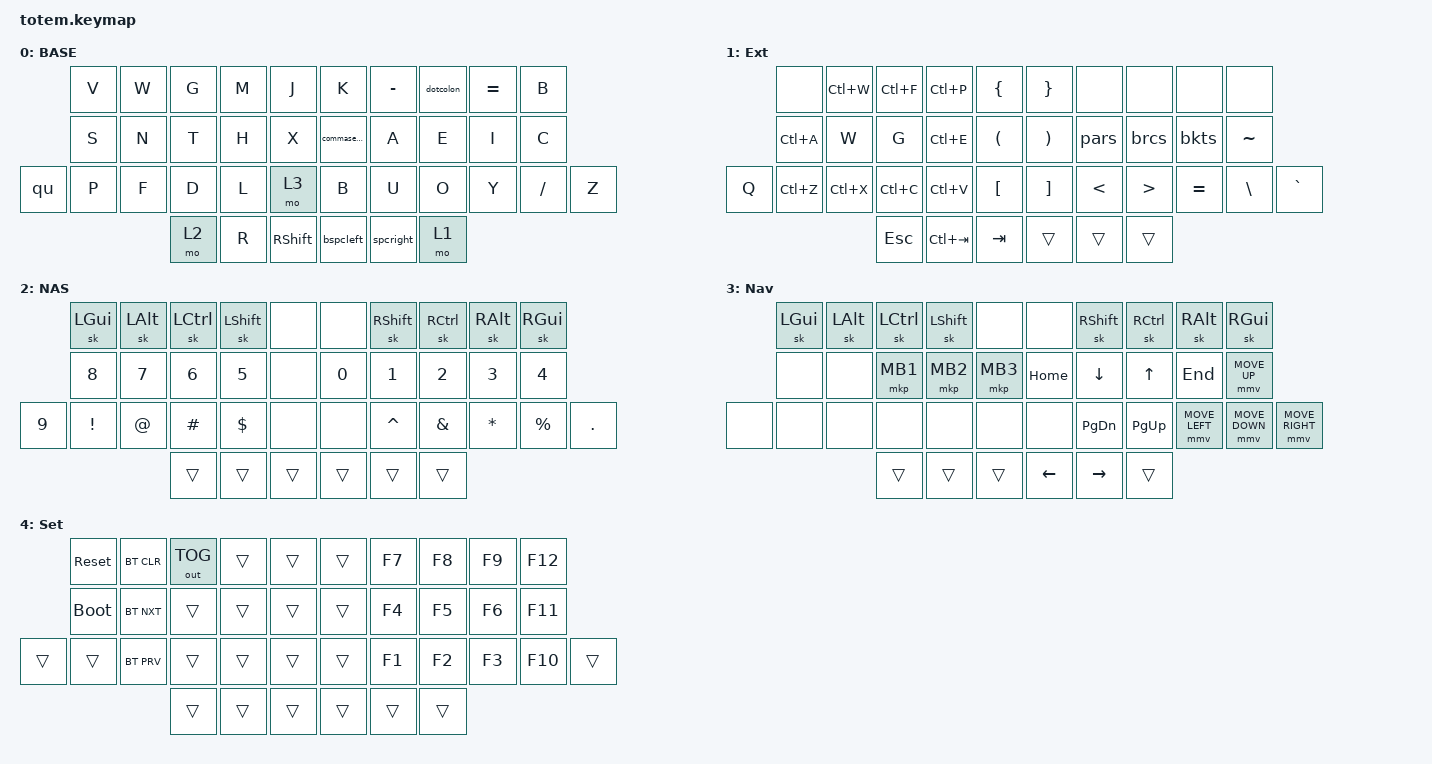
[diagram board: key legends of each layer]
//
//                                                        ▀▀▀▀▀     ▀▀▀▀▀          ▀▀█▀▀
//                                                        ▄▀▀▀▄  ▄  ▄▀▀▀▄  ▄  ▄▀▀▀▄  █  ▄▀▀▀▄
//                                                        █   █  █  █   █  █  █   █  █  █   █
//                                                         ▀▀▀   █   ▀▀▀   █   ▀▀▀   ▀   ▀▀▀
//                                                               █      ▄▄▄█▄▄▄    █   █  
//                                                               ▀      █  █  █     █▄█
//                                                             ▀▀▀▀▀    █  █  █      ▀
//                                                                      ▀  ▀  ▀
//
// ▄▄▄▄▄▄▄▄▄▄▄▄▄▄▄▄▄▄▄▄▄▄▄▄▄▄▄▄▄▄▄▄▄▄▄▄▄▄▄▄▄▄▄▄▄▄▄▄▄▄▄▄▄▄▄▄▄▄▄▄▄▄▄▄▄▄▄▄▄▄▄▄▄▄▄▄▄▄▄▄▄▄▄▄▄▄▄▄▄▄▄▄▄▄▄▄▄▄▄▄▄▄▄▄▄▄▄▄▄▄▄▄▄▄▄▄▄▄▄▄▄▄▄▄▄▄▄▄▄▄▄▄▄▄▄▄▄▄▄▄▄▄▄▄▄▄▄▄▄

#include <behaviors.dtsi>
#include <dt-bindings/zmk/bt.h>
#include <dt-bindings/zmk/keys.h>
#include <dt-bindings/zmk/outputs.h>
#include <dt-bindings/zmk/pointing.h>
#include <dt-bindings/zmk/pointing.h>

#define BASE 0
#define NAV  1
#define SYM  2
#define ADJ  3
#define TVP1 4
#define TVP2 5

&mt {
    quick-tap-ms = <100>;
    global-quick-tap;
    flavor = "tap-preferred";
    tapping-term-ms = <170>;
};

/ {
    combos {
        compatible = "zmk,combos";

        settings_combo {
            bindings = <&sl 4>;
            key-positions = <32 37>;
            layers = <0 4>;
        };

        combo_nav {
            bindings = <&mo 3>;
            key-positions = <32 33>;
            layers = <0>;
        };

        combo_th {
            bindings = <&th>;
            key-positions = <12 13>;
            layers = <0>;
        };

        combo_ing {
            bindings = <&ing>;
            key-positions = <18 19>;
            layers = <0>;
        };

        combo_gh {
            bindings = <&gh>;
            key-positions = <2 3>;
        };

        combo_quote {
            bindings = <&kp APOS>;
            key-positions = <9 19>;
        };

        combo_cap_r {
            bindings = <&kp LS(R)>;
            key-positions = <33 34>;
        };

        combo_enter {
            bindings = <&kp ENTER>;
            key-positions = <36 37>;
        };

        combo_ou {
            bindings = <&ou>;
            key-positions = <27 28>;
        };

        combo_dl {
            bindings = <&ld>;
            key-positions = <23 24>;
        };

        combo_you {
            bindings = <&you>;
            key-positions = <27 28 29>;
            layers = <0>;
        };

        combo_and {
            bindings = <&and>;
            key-positions = <16 11 12>;
        };

        combo_j {
            bindings = <&kp J>;
            key-positions = <13 14>;
        };

        combo_k {
            bindings = <&kp K>;
            key-positions = <15 16>;
        };

        combo_hr_enter {
            bindings = <&kp ENTER>;
            key-positions = <16 17 18 19>;
        };

        combo_exclamation {
            bindings = <&kp EXCLAMATION>;
            key-positions = <0 10>;
        };

        combo_v {
            bindings = <&kp V>;
            key-positions = <10 11>;
        };
    };

    macros {
        qu: qu {
            compatible = "zmk,behavior-macro";
            #binding-cells = <0>;
            bindings =
                <&kp Q>,
                <&macro_release>,
                <&kp LSHIFT &kp RSHIFT>,
                <&macro_tap>,
                <&kp U>;

            label = "QU";
        };

        pars: pars {
            compatible = "zmk,behavior-macro";
            #binding-cells = <0>;
            bindings = <&kp LPAR &kp RPAR &kp LEFT_ARROW>;
            label = "PARS";
        };

        brcs: brcs {
            compatible = "zmk,behavior-macro";
            #binding-cells = <0>;
            bindings = <&kp LBRC &kp RBRC &kp LEFT_ARROW>;
            label = "BRCS";
        };

        bkts: brks {
            compatible = "zmk,behavior-macro";
            #binding-cells = <0>;
            bindings = <&kp LBKT &kp RBKT &kp LEFT_ARROW>;
            label = "BRKS";
        };

        th: th {
            compatible = "zmk,behavior-macro";
            #binding-cells = <0>;
            bindings =
                <&kp T>,
                <&macro_release>,
                <&kp LSHIFT &kp RSHIFT>,
                <&macro_tap>,
                <&kp H>;

            label = "TH";
        };

        ing: ing {
            compatible = "zmk,behavior-macro";
            #binding-cells = <0>;
            bindings = <&kp I &kp N &kp G>;
            label = "ING";
        };

        gh: gh {
            compatible = "zmk,behavior-macro";
            #binding-cells = <0>;
            bindings =
                <&kp G>,
                <&macro_release>,
                <&kp LSHIFT &kp RSHIFT>,
                <&macro_tap>,
                <&kp H>;

            label = "GH";
        };

        ou: ou {
            compatible = "zmk,behavior-macro";
            #binding-cells = <0>;
            bindings =
                <&kp O>,
                <&macro_release>,
                <&kp LSHIFT &kp RSHIFT>,
                <&macro_tap>,
                <&kp U>;

            label = "OU";
        };

        ld: ld {
            compatible = "zmk,behavior-macro";
            #binding-cells = <0>;
            bindings =
                <&kp L>,
                <&macro_release>,
                <&kp LSHIFT &kp RSHIFT>,
                <&macro_tap>,
                <&kp D>;

            label = "LD";
        };

        you: you {
            compatible = "zmk,behavior-macro";
            #binding-cells = <0>;
            bindings =
                <&kp Y>,
                <&macro_release>,
                <&kp LSHIFT &kp RSHIFT>,
                <&macro_tap>,
                <&kp O &kp U>;

            label = "YOU";
        };

        and: and {
            compatible = "zmk,behavior-macro";
            #binding-cells = <0>;
            bindings = <&kp A &kp N &kp D>;
            label = "AND";
        };
    };

    behaviors {
        spcright: spcright {
            compatible = "zmk,behavior-mod-morph";
            label = "SPCRIGHT";
            bindings = <&kp SPACE>, <&kp RIGHT>;

            #binding-cells = <0>;
            mods = <(MOD_LSFT|MOD_RSFT)>;
        };

        bspcleft: bspcleft {
            compatible = "zmk,behavior-mod-morph";
            label = "BSPCLEFT";
            bindings = <&kp BACKSPACE>, <&kp LEFT>;

            #binding-cells = <0>;
            mods = <(MOD_LSFT|MOD_RSFT)>;
        };

        dotcolon: dotcolon {
            compatible = "zmk,behavior-mod-morph";
            label = "DOTCOLON";
            bindings = <&kp DOT>, <&kp COLON>;

            #binding-cells = <0>;
            mods = <(MOD_LSFT|MOD_RSFT)>;
            keep-mods = <(MOD_LSFT|MOD_RSFT)>;
        };

        commasemi: commasemi {
            compatible = "zmk,behavior-mod-morph";
            label = "COMMASEMI";
            bindings = <&kp COMMA>, <&kp SEMI>;

            #binding-cells = <0>;
            mods = <(MOD_LSFT|MOD_RSFT)>;
        };
    };

    keymap {
        compatible = "zmk,keymap";

        // ▄▄▄▄▄▄▄▄▄▄▄▄▄▄▄▄▄▄▄▄▄▄▄▄▄▄▄▄▄▄▄▄▄▄▄▄▄▄▄▄▄▄▄▄▄▄▄▄▄▄▄▄▄▄▄▄▄▄▄▄▄▄▄▄▄▄▄▄▄▄▄▄▄▄▄▄▄▄▄▄▄▄▄▄▄▄▄▄▄▄▄▄▄▄▄▄▄▄▄▄▄▄▄▄▄▄▄▄▄▄▄▄▄▄▄▄▄▄▄▄▄▄▄▄▄▄▄▄▄▄▄▄▄▄▄▄▄▄▄▄▄▄▄▄▄▄▄▄▄

        base_layer {
            // ┏━━━━━━━━━━━━━━━━━━━━━━━━━━━━━━━━━━━━━━━┓

            label = "BASE";

            // ┗━━━━━━━━━━━━━━━━━━━━━━━━━━━━━━━━━━━━━━━┛
            //             ┏━━━━━━━━━━━┳━━━━━━━━━━━┳━━━━━━━━━━━┳━━━━━━━━━━━┳━━━━━━━━━━━┓   ┏━━━━━━━━━━━┳━━━━━━━━━━━┳━━━━━━━━━━━┳━━━━━━━━━━━┳━━━━━━━━━━━┓
            //             ┃     Q     ┃     W     ┃     F     ┃     P     ┃     G     ┃   ┃     J     ┃     L     ┃     U     ┃     Y     ┃     ;     ┃
            //             ┣━━━━━━━━━━━╋━━━━━━━━━━━╋━━━━━━━━━━━╋━━━━━━━━━━━╋━━━━━━━━━━━┫   ┣━━━━━━━━━━━╋━━━━━━━━━━━╋━━━━━━━━━━━╋━━━━━━━━━━━╋━━━━━━━━━━━┫
            //             ┃     A     ┃     R     ┃     S     ┃     T     ┃     D     ┃   ┃     H     ┃     N     ┃     E     ┃     I     ┃     O     ┃
            // ┏━━━━━━━━━━━╋━━━━━━━━━━━╋━━━━━━━━━━━╋━━━━━━━━━━━╋━━━━━━━━━━━╋━━━━━━━━━━━┫   ┣━━━━━━━━━━━╋━━━━━━━━━━━╋━━━━━━━━━━━╋━━━━━━━━━━━╋━━━━━━━━━━━╋━━━━━━━━━━━┓
            // ┃     Q     ┃     Z     ┃     X     ┃     C     ┃     V     ┃     B     ┃   ┃     K     ┃     M     ┃     ,     ┃     .     ┃     /     ┃     \     ┃
            // ┗━━━━━━━━━━━┻━━━━━━━━━━━┻━━━━━━━━━━━╋━━━━━━━━━━━╋━━━━━━━━━━━╋━━━━━━━━━━━┫   ┣━━━━━━━━━━━╋━━━━━━━━━━━╋━━━━━━━━━━━╋━━━━━━━━━━━┻━━━━━━━━━━━┻━━━━━━━━━━━┛
            //                                     ┃    DEL    ┃    TAB    ┃    SPC    ┃   ┃   ENTER   ┃           ┃   BSPC    ┃
            //                                     ┗━━━━━━━━━━━┻━━━━━━━━━━━┻━━━━━━━━━━━┛   ┗━━━━━━━━━━━┻━━━━━━━━━━━┻━━━━━━━━━━━┛

            bindings = <
     &kp V  &kp W  &kp G  &kp M  &kp J         &kp K       &kp MINUS  &dotcolon  &kp EQUAL  &kp B
     &kp S  &kp N  &kp T  &kp H  &kp X         &commasemi  &kp A      &kp E      &kp I      &kp C
&qu  &kp P  &kp F  &kp D  &kp L  &mo 3         &kp B       &kp U      &kp O      &kp Y      &kp FSLH  &kp Z
                   &mo 2  &kp R  &kp RSHIFT    &bspcleft   &spcright  &mo 1
            >;
        };

        ext_layer {
            // ┏━━━━━━━━━━━━━━━━━━━━━━━━━━━━━━━━━━━━━━━┓

            label = "Ext";

            // ┗━━━━━━━━━━━━━━━━━━━━━━━━━━━━━━━━━━━━━━━┛
            //             ┏━━━━━━━━━━━┳━━━━━━━━━━━┳━━━━━━━━━━━┳━━━━━━━━━━━┳━━━━━━━━━━━┓   ┏━━━━━━━━━━━┳━━━━━━━━━━━┳━━━━━━━━━━━┳━━━━━━━━━━━┳━━━━━━━━━━━┓
            //             ┃           ┃           ┃     UP    ┃           ┃     {     ┃   ┃     }     ┃     7     ┃     8     ┃     9     ┃     +     ┃
            //             ┣━━━━━━━━━━━╋━━━━━━━━━━━╋━━━━━━━━━━━╋━━━━━━━━━━━╋━━━━━━━━━━━┫   ┣━━━━━━━━━━━╋━━━━━━━━━━━╋━━━━━━━━━━━╋━━━━━━━━━━━╋━━━━━━━━━━━┫
            //             ┃   SHIFT   ┃   LEFT    ┃    DOWN   ┃   RIGHT   ┃     [     ┃   ┃     ]     ┃     4     ┃     5     ┃     6     ┃     -     ┃
            // ┏━━━━━━━━━━━╋━━━━━━━━━━━╋━━━━━━━━━━━╋━━━━━━━━━━━╋━━━━━━━━━━━╋━━━━━━━━━━━┫   ┣━━━━━━━━━━━╋━━━━━━━━━━━╋━━━━━━━━━━━╋━━━━━━━━━━━╋━━━━━━━━━━━╋━━━━━━━━━━━┓
            // ┃           ┃           ┃   P UP    ┃  C LOCK   ┃  P DOWN   ┃     (     ┃   ┃     )     ┃     1     ┃     2     ┃     3     ┃     *     ┃           ┃
            // ┗━━━━━━━━━━━┻━━━━━━━━━━━┻━━━━━━━━━━━╋━━━━━━━━━━━╋━━━━━━━━━━━╋━━━━━━━━━━━┫   ┣━━━━━━━━━━━╋━━━━━━━━━━━╋━━━━━━━━━━━╋━━━━━━━━━━━┻━━━━━━━━━━━┻━━━━━━━━━━━┛
            //                                     ┃           ┃    TAB    ┃    SPC    ┃   ┃    DEL    ┃     0     ┃           ┃
            //                                     ┗━━━━━━━━━━━┻━━━━━━━━━━━┻━━━━━━━━━━━┛   ┗━━━━━━━━━━━┻━━━━━━━━━━━┻━━━━━━━━━━━┛

            bindings = <
       &none      &kp LC(W)  &kp LC(F)  &kp LC(P)    &kp LBRC    &kp RBRC  &none          &none             &none      &none
       &kp LC(A)  &kp W      &kp G      &kp LC(E)    &kp LPAR    &kp RPAR  &pars          &brcs             &bkts      &kp TILDE
&kp Q  &kp LC(Z)  &kp LC(X)  &kp LC(C)  &kp LC(V)    &kp LBKT    &kp RBKT  &kp LESS_THAN  &kp GREATER_THAN  &kp EQUAL  &kp BSLH   &kp GRAVE
                             &kp ESC    &kp LC(TAB)  &kp TAB     &trans    &trans         &trans
            >;
        };

        nas_layer {
            // ┏━━━━━━━━━━━━━━━━━━━━━━━━━━━━━━━━━━━━━━━┓

            label = "NAS";

            // ┗━━━━━━━━━━━━━━━━━━━━━━━━━━━━━━━━━━━━━━━┛
            //             ┏━━━━━━━━━━━┳━━━━━━━━━━━┳━━━━━━━━━━━┳━━━━━━━━━━━┳━━━━━━━━━━━┓   ┏━━━━━━━━━━━┳━━━━━━━━━━━┳━━━━━━━━━━━┳━━━━━━━━━━━┳━━━━━━━━━━━┓
            //             ┃     !     ┃     @     ┃     #     ┃     $     ┃     %     ┃   ┃     ˆ     ┃     &     ┃     Ü     ┃     '     ┃     "     ┃
            //             ┣━━━━━━━━━━━╋━━━━━━━━━━━╋━━━━━━━━━━━╋━━━━━━━━━━━╋━━━━━━━━━━━┫   ┣━━━━━━━━━━━╋━━━━━━━━━━━╋━━━━━━━━━━━╋━━━━━━━━━━━╋━━━━━━━━━━━┫
            //             ┃     Ä     ┃           ┃    SZ     ┃           ┃           ┃   ┃   MUTE    ┃   YEN     ┃   EURO    ┃  POUND    ┃     Ö     ┃
            // ┏━━━━━━━━━━━╋━━━━━━━━━━━╋━━━━━━━━━━━╋━━━━━━━━━━━╋━━━━━━━━━━━╋━━━━━━━━━━━┫   ┣━━━━━━━━━━━╋━━━━━━━━━━━╋━━━━━━━━━━━╋━━━━━━━━━━━╋━━━━━━━━━━━╋━━━━━━━━━━━┓
            // ┃           ┃  EMAIL1   ┃  EMAIL2   ┃           ┃           ┃           ┃   ┃   VOL-    ┃   VOL+    ┃   LAST    ┃   NEXT    ┃     \     ┃           ┃
            // ┗━━━━━━━━━━━┻━━━━━━━━━━━┻━━━━━━━━━━━╋━━━━━━━━━━━╋━━━━━━━━━━━╋━━━━━━━━━━━┫   ┣━━━━━━━━━━━╋━━━━━━━━━━━╋━━━━━━━━━━━╋━━━━━━━━━━━┻━━━━━━━━━━━┻━━━━━━━━━━━┛
            //                                     ┃           ┃    GIF    ┃    ADJ    ┃   ┃           ┃           ┃           ┃
            //                                     ┗━━━━━━━━━━━┻━━━━━━━━━━━┻━━━━━━━━━━━┛   ┗━━━━━━━━━━━┻━━━━━━━━━━━┻━━━━━━━━━━━┛

            bindings = <
        &sk LGUI         &sk LALT     &sk LCTRL  &sk LSHFT   &none     &none   &sk RSHFT  &sk RCTRL      &sk RALT      &sk RGUI
        &kp N8           &kp N7       &kp N6     &kp N5      &none     &kp N0  &kp N1     &kp N2         &kp N3        &kp N4
&kp N9  &kp EXCLAMATION  &kp AT_SIGN  &kp HASH   &kp DOLLAR  &none     &none   &kp CARET  &kp AMPERSAND  &kp ASTERISK  &kp PERCENT  &kp DOT
                                      &trans     &trans      &trans    &trans  &trans     &trans
            >;
        };

        navigation_layer {
            label = "Nav";
            bindings = <
       &sk LGUI  &sk LALT  &sk LCTRL  &sk LSHFT  &none       &none     &sk RSHFT      &sk RCTRL    &sk RALT        &sk RGUI
       &none     &none     &mkp MB1   &mkp MB2   &mkp MB3    &kp HOME  &kp DOWN       &kp UP       &kp END         &mmv MOVE_UP
&none  &none     &none     &none      &none      &none       &none     &kp PAGE_DOWN  &kp PAGE_UP  &mmv MOVE_LEFT  &mmv MOVE_DOWN  &mmv MOVE_RIGHT
                           &trans     &trans     &trans      &kp LEFT  &kp RIGHT      &trans
            >;
        };

        settings_layer {
            // ┏━━━━━━━━━━━━━━━━━━━━━━━━━━━━━━━━━━━━━━━┓

            label = "Set";

            // ┗━━━━━━━━━━━━━━━━━━━━━━━━━━━━━━━━━━━━━━━┛
            //             ┏━━━━━━━━━━━┳━━━━━━━━━━━┳━━━━━━━━━━━┳━━━━━━━━━━━┳━━━━━━━━━━━┓   ┏━━━━━━━━━━━┳━━━━━━━━━━━┳━━━━━━━━━━━┳━━━━━━━━━━━┳━━━━━━━━━━━┓
            //             ┃   RESET   ┃ BT CLEAR  ┃  OUT TOG  ┃           ┃           ┃   ┃           ┃    F7     ┃    F8     ┃    F9     ┃    F12    ┃
            //             ┣━━━━━━━━━━━╋━━━━━━━━━━━╋━━━━━━━━━━━╋━━━━━━━━━━━╋━━━━━━━━━━━┫   ┣━━━━━━━━━━━╋━━━━━━━━━━━╋━━━━━━━━━━━╋━━━━━━━━━━━╋━━━━━━━━━━━┫
            //             ┃ BOOTLOAD  ┃ BT NEXT   ┃           ┃           ┃           ┃   ┃           ┃    F4     ┃    F5     ┃    F6     ┃    F11    ┃
            // ┏━━━━━━━━━━━╋━━━━━━━━━━━╋━━━━━━━━━━━╋━━━━━━━━━━━╋━━━━━━━━━━━╋━━━━━━━━━━━┫   ┣━━━━━━━━━━━╋━━━━━━━━━━━╋━━━━━━━━━━━╋━━━━━━━━━━━╋━━━━━━━━━━━╋━━━━━━━━━━━┓
            // ┃           ┃           ┃ BT PREV   ┃           ┃           ┃           ┃   ┃           ┃    F1     ┃    F2     ┃    F3     ┃    F10    ┃           ┃
            // ┗━━━━━━━━━━━┻━━━━━━━━━━━┻━━━━━━━━━━━╋━━━━━━━━━━━╋━━━━━━━━━━━╋━━━━━━━━━━━┫   ┣━━━━━━━━━━━╋━━━━━━━━━━━╋━━━━━━━━━━━╋━━━━━━━━━━━┻━━━━━━━━━━━┻━━━━━━━━━━━┛
            //                                     ┃           ┃           ┃           ┃   ┃           ┃           ┃           ┃
            //                                     ┗━━━━━━━━━━━┻━━━━━━━━━━━┻━━━━━━━━━━━┛   ┗━━━━━━━━━━━┻━━━━━━━━━━━┻━━━━━━━━━━━┛

            bindings = <
        &sys_reset   &bt BT_CLR  &out OUT_TOG  &trans  &trans    &trans  &kp F7  &kp F8  &kp F9  &kp F12
        &bootloader  &bt BT_NXT  &trans        &trans  &trans    &trans  &kp F4  &kp F5  &kp F6  &kp F11
&trans  &trans       &bt BT_PRV  &trans        &trans  &trans    &trans  &kp F1  &kp F2  &kp F3  &kp F10  &trans
                                 &trans        &trans  &trans    &trans  &trans  &trans
            >;
        };

        // ▄▄▄▄▄▄▄▄▄▄▄▄▄▄▄▄▄▄▄▄▄▄▄▄▄▄▄▄▄▄▄▄▄▄▄▄▄▄▄▄▄▄▄▄▄▄▄▄▄▄▄▄▄▄▄▄▄▄▄▄▄▄▄▄▄▄▄▄▄▄▄▄▄▄▄▄▄▄▄▄▄▄▄▄▄▄▄▄▄▄▄▄▄▄▄▄▄▄▄▄▄▄▄▄▄▄▄▄▄▄▄▄▄▄▄▄▄▄▄▄▄▄▄▄▄▄▄▄▄▄▄▄▄▄▄▄▄▄▄▄▄▄▄▄▄▄▄▄▄
    };
};
